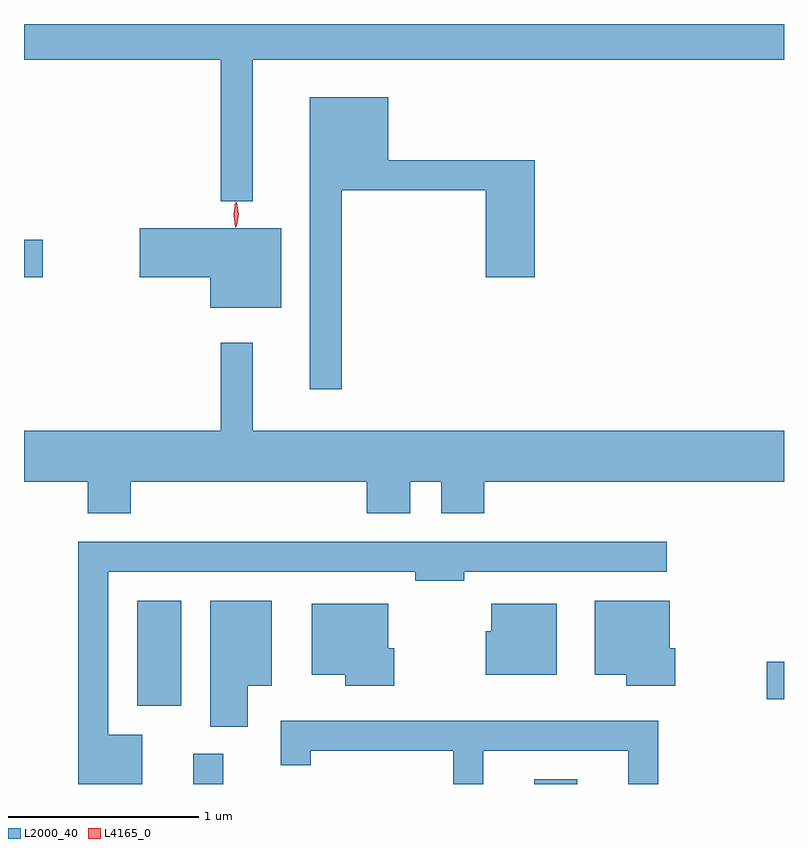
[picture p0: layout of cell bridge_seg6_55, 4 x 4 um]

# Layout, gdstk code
import gdstk
lib = gdstk.Library(unit=1e-6, precision=1e-09)
def R(c, l, rs):  # rectangles x0, y0, x1, y1
    for r in rs: c.add(gdstk.rectangle(r[:2], r[2:], *l))
def P(c, l, *ps):  # polygons
    for p in ps: c.add(gdstk.Polygon(p, *l))
L2000_40 = (2000, 40)
L4165_0 = (4165, 0)

bridge_seg6_55 = lib.new_cell('bridge_seg6_55')
R(bridge_seg6_55, L2000_40, [(1599.376,1595.065,1599.534,1595.223), (1601.171,1595.065,1601.399,1595.089), (1599.081,1595.476,1599.314,1596.029), (1602.396,1595.511,1602.486,1595.709), (1598.486,1597.731,1598.584,1597.929)])
P(bridge_seg6_55, L2000_40, [(1599.689,1598.876),(1602.486,1598.876),(1602.486,1599.065),(1598.486,1599.065),(1598.486,1598.876),(1599.521,1598.876),(1599.521,1598.133),(1599.689,1598.133)],
  [(1600.159,1598.191),(1600.916,1598.191),(1600.916,1597.731),(1601.174,1597.731),(1601.174,1598.349),(1600.404,1598.349),(1600.404,1598.679),(1599.991,1598.679),(1599.991,1597.143),(1600.159,1597.143)],
  [(1599.839,1597.989),(1599.096,1597.989),(1599.096,1597.731),(1599.466,1597.731),(1599.466,1597.571),(1599.839,1597.571)],
  [(1599.049,1596.656),(1600.291,1596.656),(1600.291,1596.491),(1600.519,1596.491),(1600.519,1596.656),(1600.681,1596.656),(1600.681,1596.491),(1600.909,1596.491),(1600.909,1596.656),(1602.486,1596.656),(1602.486,1596.924),(1599.689,1596.924),(1599.689,1597.388),(1599.521,1597.388),(1599.521,1596.924),(1598.486,1596.924),(1598.486,1596.656),(1598.821,1596.656),(1598.821,1596.491),(1599.049,1596.491)],
  [(1599.109,1595.324),(1598.929,1595.324),(1598.929,1596.181),(1600.546,1596.181),(1600.546,1596.136),(1600.804,1596.136),(1600.804,1596.181),(1601.868,1596.181),(1601.868,1596.339),(1598.771,1596.339),(1598.771,1595.065),(1599.109,1595.065)],
  [(1601.914,1595.779),(1601.884,1595.779),(1601.884,1596.029),(1601.491,1596.029),(1601.491,1595.641),(1601.656,1595.641),(1601.656,1595.581),(1601.914,1595.581)],
  [(1599.664,1595.581),(1599.789,1595.581),(1599.789,1596.029),(1599.466,1596.029),(1599.466,1595.366),(1599.664,1595.366)],
  [(1601.289,1596.014),(1600.946,1596.014),(1600.946,1595.869),(1600.916,1595.869),(1600.916,1595.641),(1601.289,1595.641)],
  [(1600.434,1595.779),(1600.404,1595.779),(1600.404,1596.014),(1600.001,1596.014),(1600.001,1595.641),(1600.176,1595.641),(1600.176,1595.581),(1600.434,1595.581)],
  [(1600.904,1595.241),(1601.666,1595.241),(1601.666,1595.065),(1601.824,1595.065),(1601.824,1595.399),(1599.836,1595.399),(1599.836,1595.163),(1599.994,1595.163),(1599.994,1595.241),(1600.746,1595.241),(1600.746,1595.065),(1600.904,1595.065)])
P(bridge_seg6_55, L4165_0, [(1599.604,1598),(1599.595,1598.063),(1599.604,1598.126),(1599.605,1598.127),(1599.606,1598.126),(1599.615,1598.063),(1599.606,1598),(1599.605,1598)],
  [(1599.599,1597.994),(1599.589,1598.062),(1599.598,1598.13),(1599.598,1598.13),(1599.599,1598.13),(1599.609,1598.062),(1599.6,1597.994),(1599.6,1597.994)])

lib.write_gds('bridge_seg6_55.gds')
